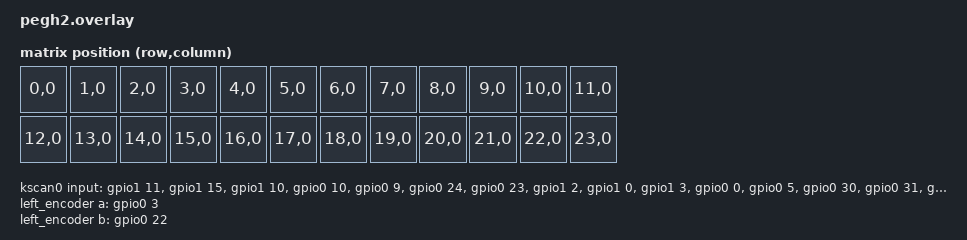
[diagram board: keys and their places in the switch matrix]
#include <dt-bindings/zmk/matrix_transform.h>
#include "layouts.dtsi"

/ {
	chosen {
		zmk,physical-layout = &physical_layout0;
zmk,battery = &non_lipo_battery;
	};

	default_transform: keymap_transform_0 {
		compatible = "zmk,matrix-transform";
		columns = <1>;
		rows = <25>;
		map = <
			RC(0,0) RC(1,0) RC(2,0) RC(3,0) RC(4,0) RC(5,0) RC(6,0) RC(7,0) RC(8,0) RC(9,0) RC(10,0) RC(11,0)
			RC(12,0) RC(13,0) RC(14,0) RC(15,0) RC(16,0) RC(17,0) RC(18,0) RC(19,0) RC(20,0) RC(21,0) RC(22,0) RC(23,0)
    >;
	};

	kscan0: kscan {
		compatible = "zmk,kscan-gpio-direct";
        wakeup-source;

		input-gpios
			= 
 <&gpio1 11 (GPIO_ACTIVE_LOW | GPIO_PULL_UP)>
 ,<&gpio1 15 (GPIO_ACTIVE_LOW | GPIO_PULL_UP)>
 ,<&gpio1 10 (GPIO_ACTIVE_LOW | GPIO_PULL_UP)>
 ,<&gpio0 10 (GPIO_ACTIVE_LOW | GPIO_PULL_UP)>
 ,<&gpio0 9 (GPIO_ACTIVE_LOW | GPIO_PULL_UP)>
 ,<&gpio0 24 (GPIO_ACTIVE_LOW | GPIO_PULL_UP)>
 ,<&gpio0 23 (GPIO_ACTIVE_LOW | GPIO_PULL_UP)>
 ,<&gpio1 2 (GPIO_ACTIVE_LOW | GPIO_PULL_UP)>
 ,<&gpio1 0 (GPIO_ACTIVE_LOW | GPIO_PULL_UP)>
 ,<&gpio1 3 (GPIO_ACTIVE_LOW | GPIO_PULL_UP)>
 ,<&gpio0 0 (GPIO_ACTIVE_LOW | GPIO_PULL_UP)>
 ,<&gpio0 5 (GPIO_ACTIVE_LOW | GPIO_PULL_UP)>
 ,<&gpio0 30 (GPIO_ACTIVE_LOW | GPIO_PULL_UP)>
 ,<&gpio0 31 (GPIO_ACTIVE_LOW | GPIO_PULL_UP)>
 ,<&gpio0 29 (GPIO_ACTIVE_LOW | GPIO_PULL_UP)>
 ,<&gpio1 14 (GPIO_ACTIVE_LOW | GPIO_PULL_UP)>
 ,<&gpio0 16 (GPIO_ACTIVE_LOW | GPIO_PULL_UP)>
 ,<&gpio0 18 (GPIO_ACTIVE_LOW | GPIO_PULL_UP)>
 ,<&gpio0 8 (GPIO_ACTIVE_LOW | GPIO_PULL_UP)>
 ,<&gpio0 11 (GPIO_ACTIVE_LOW | GPIO_PULL_UP)>
 ,<&gpio0 21 (GPIO_ACTIVE_LOW | GPIO_PULL_UP)>
 ,<&gpio0 17 (GPIO_ACTIVE_LOW | GPIO_PULL_UP)>
 ,<&gpio0 20 (GPIO_ACTIVE_LOW | GPIO_PULL_UP)>
 ,<&gpio0 19 (GPIO_ACTIVE_LOW | GPIO_PULL_UP)>




		;
	};
   left_encoder: encoder_left {
        compatible = "alps,ec11";
        a-gpios = <&gpio0 3 (GPIO_ACTIVE_LOW | GPIO_PULL_UP)>;
        b-gpios = <&gpio0 22 (GPIO_ACTIVE_LOW | GPIO_PULL_UP)>;
       steps = <24>;
        status = "okay";
    };
    sensors: sensors {
        compatible = "zmk,keymap-sensors";
        sensors = <&left_encoder>;
        triggers-per-rotation = <6>;
   };
non_lipo_battery: non_lipo_battery {
		compatible = "zmk,non-lipo-battery";
        io-channels = <&adc 4>;
   };
};

&physical_layout0 {
	kscan = <&kscan0>;
	transform = <&default_transform>;
};
